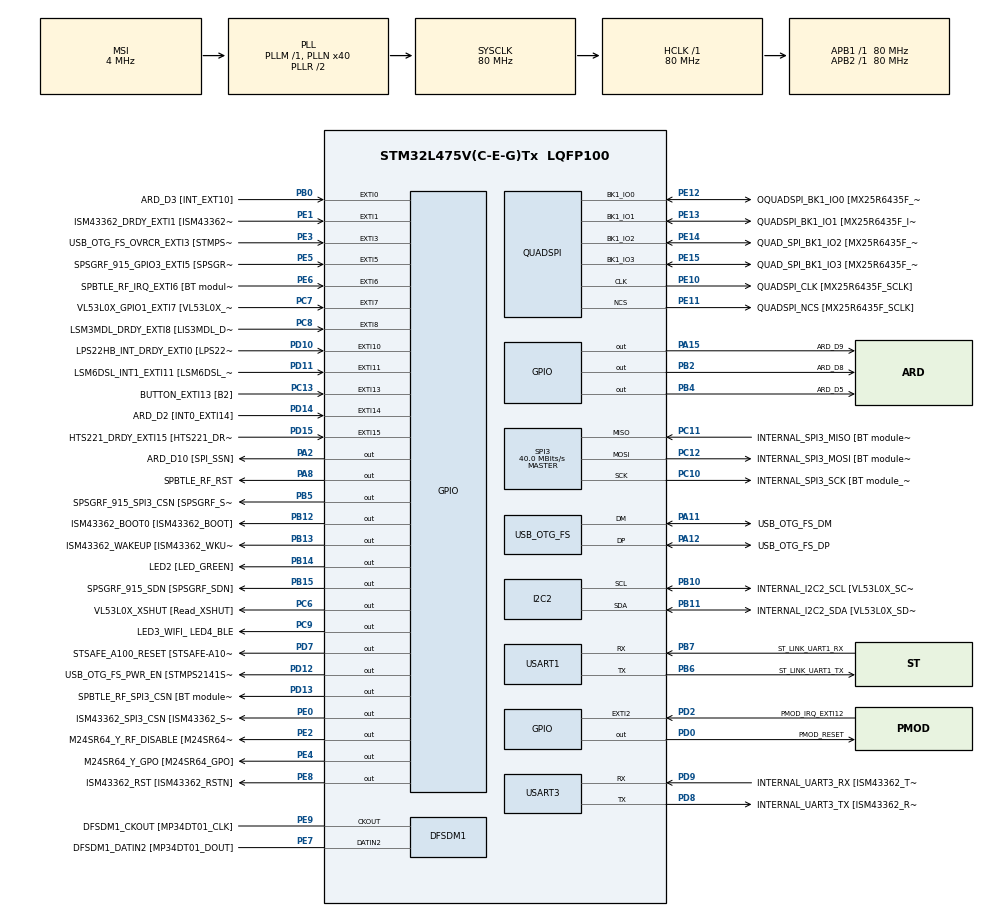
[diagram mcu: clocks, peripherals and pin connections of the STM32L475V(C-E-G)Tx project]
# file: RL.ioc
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I2C2.Timing=0x10D19CE4
Mcu.Family=STM32L4
Mcu.Name=STM32L475V(C-E-G)Tx
Mcu.Package=LQFP100
NVIC.EXTI15_10_IRQn=true\:0\:0\:false\:false\:true\:true\:true\:true
NVIC.EXTI9_5_IRQn=true\:0\:0\:false\:false\:true\:true\:true\:true
NVIC.PriorityGroup=NVIC_PRIORITYGROUP_4
PA0.GPIO_Label=ARD_D1 [UART4_TX]
PA0.Signal=UART4_TX
PA1.GPIO_Label=ARD_D0 [UART4_RX]
PA1.Signal=UART4_RX
PA10.GPIO_Label=USB_OTG_FS_ID
PA10.Signal=USB_OTG_FS_ID
PA11.GPIO_Label=USB_OTG_FS_DM
PA11.Mode=Device_Only
PA11.Signal=USB_OTG_FS_DM
PA12.GPIO_Label=USB_OTG_FS_DP
PA12.Mode=Device_Only
PA12.Signal=USB_OTG_FS_DP
PA13\ (JTMS-SWDIO).GPIO_Label=SYS_JTMS_SWDIO
PA13\ (JTMS-SWDIO).Mode=Serial_Wire
PA13\ (JTMS-SWDIO).Signal=SYS_JTMS-SWDIO
PA14\ (JTCK-SWCLK).GPIO_Label=SYS_JTCK_SWCLK
PA14\ (JTCK-SWCLK).Mode=Serial_Wire
PA14\ (JTCK-SWCLK).Signal=SYS_JTCK-SWCLK
PA15\ (JTDI).GPIO_Label=ARD_D9
PA15\ (JTDI).Signal=GPIO_Output
PA2.GPIO_Label=ARD_D10 [SPI_SSN]
PA2.Signal=GPIO_Output
PA3.GPIO_Label=ARD_D4
PA3.Signal=S_TIM2_CH4
PA4.GPIO_Label=ARD_D7
PA4.Signal=ADCx_IN9
PA5.GPIO_Label=ARD_D13 [SPI1_SCK]
PA5.Signal=SPI1_SCK
PA6.GPIO_Label=ARD_D12 [SPI1_MISO]
PA6.Signal=SPI1_MISO
PA7.GPIO_Label=ARD_D11 [SPI1_MOSI]
PA7.Signal=SPI1_MOSI
PA8.GPIO_Label=SPBTLE_RF_RST
PA8.Signal=GPIO_Output
PA9.GPIO_Label=USB_OTG_FS_VBUS [STMPS2141STR_OUT]
PA9.Signal=USB_OTG_FS_VBUS
PB0.GPIO_Label=ARD_D3 [INT_EXT10]
PB0.Signal=GPXTI0
PB1.GPIO_Label=ARD_D6 [ADC1_IN6]
PB1.Signal=ADCx_IN16
PB10.GPIO_Label=INTERNAL_I2C2_SCL [VL53L0X_SCL]
PB10.GPIO_Pu=GPIO_PULLUP
PB10.Mode=I2C
PB10.Signal=I2C2_SCL
PB11.GPIO_Label=INTERNAL_I2C2_SDA [VL53L0X_SDA]
PB11.GPIO_Pu=GPIO_PULLUP
PB11.Mode=I2C
PB11.Signal=I2C2_SDA
PB12.GPIO_Label=ISM43362_BOOT0 [ISM43362_BOOT]
PB12.Signal=GPIO_Output
PB13.GPIO_Label=ISM43362_WAKEUP [ISM43362_WKUP]
PB13.Signal=GPIO_Output
PB14.GPIO_Label=LED2 [LED_GREEN]
PB14.Signal=GPIO_Output
PB15.GPIO_Label=SPSGRF_915_SDN [SPSGRF_SDN]
PB15.Signal=GPIO_Output
PB2.GPIO_Label=ARD_D8
PB2.Signal=GPIO_Output
PB3\ (JTDO-TRACESWO).GPIO_Label=SYS_JTD0_SWO
PB3\ (JTDO-TRACESWO).Signal=SYS_JTDO-SWO
PB4\ (NJTRST).GPIO_Label=ARD_D5
PB4\ (NJTRST).Signal=GPIO_Output
PB5.GPIO_Label=SPSGRF_915_SPI3_CSN [SPSGRF_SPI_CS]
PB5.PinState=GPIO_PIN_SET
PB5.Signal=GPIO_Output
PB6.GPIO_Label=ST_LINK_UART1_TX
PB6.Mode=Asynchronous
PB6.Signal=USART1_TX
PB7.GPIO_Label=ST_LINK_UART1_RX
PB7.Mode=Asynchronous
PB7.Signal=USART1_RX
PB8.GPIO_Label=ARD_D15 [I2C1_SCL]
PB8.Signal=I2C1_SCL
PB9.GPIO_Label=ARD_D14 [I2C1_SDA]
PB9.Signal=I2C1_SDA
PC0.GPIO_Label=ARD_A5 [ADC]
PC0.Signal=ADCx_IN1
PC1.GPIO_Label=ARD_A4 [ADC]
PC1.Signal=ADCx_IN2
PC10.GPIO_Label=INTERNAL_SPI3_SCK [BT module_SPI_SCLK] [ISM43362_SCK]
PC10.Mode=Full_Duplex_Master
PC10.Signal=SPI3_SCK
PC11.GPIO_Label=INTERNAL_SPI3_MISO [BT module_SPI_MISO] [ISM43362_MISO]
PC11.Mode=Full_Duplex_Master
PC11.Signal=SPI3_MISO
PC12.GPIO_Label=INTERNAL_SPI3_MOSI [BT module_SPI_MOSI] [ISM43362_MOSI]
PC12.Mode=Full_Duplex_Master
PC12.Signal=SPI3_MOSI
PC13.GPIO_Label=BUTTON_EXTI13 [B2]
PC13.GPIO_ModeDefaultEXTI=GPIO_MODE_IT_FALLING
PC13.Signal=GPXTI13
PC14-OSC32_IN\ (PC14).Mode=LSE-External-Oscillator
PC14-OSC32_IN\ (PC14).Signal=RCC_OSC32_IN
PC15-OSC32_OUT\ (PC15).Mode=LSE-External-Oscillator
PC15-OSC32_OUT\ (PC15).Signal=RCC_OSC32_OUT
PC2.GPIO_Label=ARD_A3 [ADC]
PC2.Signal=ADCx_IN3
PC3.GPIO_Label=ARD_A2 [ADC]
PC3.Signal=ADCx_IN4
PC4.GPIO_Label=ARD_A1 [ADC]
PC4.Signal=ADCx_IN13
PC5.GPIO_Label=ARD_A0 [ADC]
PC5.Signal=ADCx_IN14
PC6.GPIO_Label=VL53L0X_XSHUT [Read_XSHUT]
PC6.Signal=GPIO_Output
PC7.GPIO_Label=VL53L0X_GPIO1_EXTI7 [VL53L0X_GPIO1]
PC7.Signal=GPXTI7
PC8.GPIO_Label=LSM3MDL_DRDY_EXTI8 [LIS3MDL_DRDY]
PC8.Signal=GPXTI8
PC9.GPIO_Label=LED3_WIFI_ LED4_BLE
PC9.Signal=GPIO_Output
PD0.GPIO_Label=PMOD_RESET
PD0.Signal=GPIO_Output
PD1.GPIO_Label=PMOD_SPI2_SCK
PD1.Signal=SPI2_SCK
PD10.GPIO_Label=LPS22HB_INT_DRDY_EXTI0 [LPS22HB_INT_DRDY] 
PD10.Signal=GPXTI10
PD11.GPIO_Label=LSM6DSL_INT1_EXTI11 [LSM6DSL_INT1]
PD11.Signal=GPXTI11
PD12.GPIO_Label=USB_OTG_FS_PWR_EN [STMPS2141STR_EN]
PD12.Signal=GPIO_Output
PD13.GPIO_Label=SPBTLE_RF_SPI3_CSN [BT module_SPI_CS]
PD13.PinState=GPIO_PIN_SET
PD13.Signal=GPIO_Output
PD14.GPIO_Label=ARD_D2 [INT0_EXTI14]
PD14.Signal=GPXTI14
PD15.GPIO_Label=HTS221_DRDY_EXTI15 [HTS221_DRDY]
PD15.Signal=GPXTI15
PD2.GPIO_Label=PMOD_IRQ_EXTI12
PD2.Signal=GPXTI2
PD3.GPIO_Label=PMOD_UART2_CTS
PD3.Signal=USART2_CTS
PD4.GPIO_Label=PMOD_UART2_RTS
PD4.Signal=USART2_RTS
PD5.GPIO_Label=PMOD_UART2_TX
PD5.Signal=USART2_TX
PD6.GPIO_Label=PMOD_UART2_RX
PD6.Signal=USART2_RX
PD7.GPIO_Label=STSAFE_A100_RESET [STSAFE-A100_RESET]
PD7.Signal=GPIO_Output
PD8.GPIO_Label=INTERNAL_UART3_TX [ISM43362_RX]
PD8.Mode=Asynchronous
PD8.Signal=USART3_TX
PD9.GPIO_Label=INTERNAL_UART3_RX [ISM43362_TX]
PD9.Mode=Asynchronous
PD9.Signal=USART3_RX
PE0.GPIO_Label=ISM43362_SPI3_CSN [ISM43362_SSN]
PE0.PinState=GPIO_PIN_SET
PE0.Signal=GPIO_Output
PE1.GPIO_Label=ISM43362_DRDY_EXTI1 [ISM43362_DATARDY]
PE1.Signal=GPXTI1
PE10.GPIO_Label=QUADSPI_CLK [MX25R6435F_SCLK]
PE10.Mode=Single Bank
PE10.Signal=QUADSPI_CLK
PE11.GPIO_Label=QUADSPI_NCS [MX25R6435F_SCLK]
PE11.Mode=Single Bank
PE11.Signal=QUADSPI_NCS
PE12.GPIO_Label=OQUADSPI_BK1_IO0 [MX25R6435F_IO0]
PE12.Mode=Single Bank
PE12.Signal=QUADSPI_BK1_IO0
PE13.GPIO_Label=QUADSPI_BK1_IO1 [MX25R6435F_IO1]
PE13.Mode=Single Bank
PE13.Signal=QUADSPI_BK1_IO1
PE14.GPIO_Label=QUAD_SPI_BK1_IO2 [MX25R6435F_IO2]
PE14.Mode=Single Bank
PE14.Signal=QUADSPI_BK1_IO2
PE15.GPIO_Label=QUAD_SPI_BK1_IO3 [MX25R6435F_IO3]
PE15.Mode=Single Bank
PE15.Signal=QUADSPI_BK1_IO3
PE2.GPIO_Label=M24SR64_Y_RF_DISABLE [M24SR64_RFDIS]
PE2.Signal=GPIO_Output
PE3.GPIO_Label=USB_OTG_FS_OVRCR_EXTI3 [STMPS2141STR_FAULT]
PE3.Signal=GPXTI3
PE4.GPIO_Label=M24SR64_Y_GPO [M24SR64_GPO]
PE4.Signal=GPIO_Output
PE5.GPIO_Label=SPSGRF_915_GPIO3_EXTI5 [SPSGRF_GPIO_3]
PE5.Signal=GPXTI5
PE6.GPIO_Label=SPBTLE_RF_IRQ_EXTI6 [BT module_SPI_IRQ]
PE6.Signal=GPXTI6
PE7.GPIO_Label=DFSDM1_DATIN2 [MP34DT01_DOUT]
PE7.Signal=S_DATAIN2DFSDM1
PE8.GPIO_Label=ISM43362_RST [ISM43362_RSTN]
PE8.Signal=GPIO_Output
PE9.GPIO_Label=DFSDM1_CKOUT [MP34DT01_CLK]
PE9.Signal=S_CKOUTDFSDM1
ProjectManager.HeapSize=0x200
ProjectManager.StackSize=0x400
ProjectManager.TargetToolchain=STM32CubeIDE
QUADSPI.ClockPrescaler=2
QUADSPI.FifoThreshold=4
QUADSPI.FlashSize=23
QUADSPI.SampleShifting=QSPI_SAMPLE_SHIFTING_HALFCYCLE
RCC.ADCFreq_Value=48000000
RCC.AHBFreq_Value=80000000
RCC.APB1Freq_Value=80000000
RCC.APB1TimFreq_Value=80000000
RCC.APB2Freq_Value=80000000
RCC.APB2TimFreq_Value=80000000
RCC.CortexFreq_Value=80000000
RCC.HCLKFreq_Value=80000000
RCC.HSE_VALUE=8000000
RCC.HSI_VALUE=16000000
RCC.MSI_VALUE=4000000
RCC.PLLN=40
RCC.PLLSAI1N=24
RCC.SYSCLKFreq_VALUE=80000000
RCC.SYSCLKSource=RCC_SYSCLKSOURCE_PLLCLK
RCC.USBFreq_Value=48000000
RCC.VCOOutputFreq_Value=160000000
SH.ADCx_IN1.0=ADC1_IN1
SH.ADCx_IN13.0=ADC1_IN13
SH.ADCx_IN14.0=ADC1_IN14
SH.ADCx_IN16.0=ADC1_IN16
SH.ADCx_IN2.0=ADC1_IN2
SH.ADCx_IN3.0=ADC1_IN3
SH.ADCx_IN4.0=ADC1_IN4
SH.ADCx_IN9.0=ADC1_IN9
SH.S_CKOUTDFSDM1.0=DFSDM1_CKOUT,CKOUT
SH.S_CKOUTDFSDM1.1=DFSDM1_CKOUT,PDM_SPI_Input_from_ch12_and_Internal_Clock
SH.S_DATAIN2DFSDM1.0=DFSDM1_DATIN2,PDM_SPI_Input_from_ch12_and_Internal_Clock
SH.S_TIM2_CH4.0=TIM2_CH4
SPI3.CalculateBaudRate=40.0 MBits/s
SPI3.Direction=SPI_DIRECTION_2LINES
SPI3.Mode=SPI_MODE_MASTER
SPI3.VirtualType=VM_MASTER
USART1.VirtualMode-Asynchronous=VM_ASYNC
USART3.VirtualMode-Asynchronous=VM_ASYNC
USB_OTG_FS.VirtualMode=Device_Only
board=B-L475E-IOT01A2

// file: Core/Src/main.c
/* USER CODE BEGIN Header */
/**
  ******************************************************************************
  * @file           : main.c
  * @brief          : Main program body
  ******************************************************************************
  * @attention
  *
  * Copyright (c) 2026 STMicroelectronics.
  * All rights reserved.
  *
  * This software is licensed under terms that can be found in the LICENSE file
  * in the root directory of this software component.
  * If no LICENSE file comes with this software, it is provided AS-IS.
  *
  ******************************************************************************
  */
/* USER CODE END Header */
#include "main.h"

/* USER CODE BEGIN Includes */
#include <stdio.h>
#include "wifi.h"
#include "wifi_credentials.h"
#include "stm32l475e_iot01_tsensor.h"
#include "stm32l475e_iot01_hsensor.h"
#include "stm32l475e_iot01_psensor.h"
#include "stm32l475e_iot01_accelero.h"
#include "stm32l475e_iot01_gyro.h"
#include "stm32l475e_iot01_magneto.h"

/* USER CODE END Includes */

/* USER CODE BEGIN PD */
#define MOTION_ENABLED  1 /* 0 = do not initialize or read accelerometer, gyroscope, magnetometer */
#define WIFI_ENABLED  1   /* set to 0 to skip Wi-Fi: sensor values then appear immediately */
/* Shake detected when |a|^2 exceeds (1.5 g)^2, in mg^2. At rest, |a|^2 is about 1 000 000. */
#define SHAKE_THRESHOLD_MG2  2250000UL

/* USER CODE END PD */

DFSDM_Channel_HandleTypeDef hdfsdm1_channel1;

I2C_HandleTypeDef hi2c2;

QSPI_HandleTypeDef hqspi;

SPI_HandleTypeDef hspi3;

UART_HandleTypeDef huart1;
UART_HandleTypeDef huart3;

PCD_HandleTypeDef hpcd_USB_OTG_FS;

void SystemClock_Config(void);
static void MX_GPIO_Init(void);
static void MX_DFSDM1_Init(void);
static void MX_I2C2_Init(void);
static void MX_QUADSPI_Init(void);
static void MX_SPI3_Init(void);
static void MX_USART1_UART_Init(void);
static void MX_USART3_UART_Init(void);
static void MX_USB_OTG_FS_PCD_Init(void);
/* USER CODE BEGIN PFP */
static void uart_print(const char *s);
/* USER CODE END PFP */

/* USER CODE BEGIN 0 */
void MQTT_Connect(void)
{
  uint8_t conn_pkt[] = {
    0x10, 0x15,
    0x00, 0x04, 'M', 'Q', 'T', 'T',
    0x04, 0x02, 0x00, 0x3C,
    0x00, 0x09, 's', 't', 'm', '3', '2', 'l', '4', '7', '5'
  };
  uint16_t sent = 0;
  WIFI_SendData(0, conn_pkt, sizeof(conn_pkt), &sent, 2000);

  uint8_t rx[4];
  uint16_t read = 0;
  WIFI_ReceiveData(0, rx, sizeof(rx), &read, 2000);

  if (read >= 4 && rx[0] == 0x20 && rx[3] == 0x00) {
    uart_print("MQTT: Connected to broker!\r\n");
  } else {
    uart_print("MQTT: Connect failed!\r\n");
  }
}

void MQTT_Publish(const char *topic, const char *payload)
{
  uint8_t pkt[128];
  uint16_t tlen = strlen(topic);
  uint16_t plen = strlen(payload);
  uint16_t rem_len = 2 + tlen + plen;

  pkt[0] = 0x30;
  pkt[1] = rem_len;
  pkt[2] = (tlen >> 8) & 0xFF;
  pkt[3] = tlen & 0xFF;
  memcpy(&pkt[4], topic, tlen);
  memcpy(&pkt[4 + tlen], payload, plen);

  uint16_t sent = 0;
  WIFI_SendData(0, pkt, 2 + rem_len, &sent, 2000);
}
/* USER CODE END 0 */

int main(void)
{

  /* MCU Configuration--------------------------------------------------------*/

  /* Reset of all peripherals, Initializes the Flash interface and the Systick. */
  HAL_Init();

  /* Configure the system clock */
  SystemClock_Config();

  /* Initialize all configured peripherals */
  MX_GPIO_Init();
  MX_DFSDM1_Init();
  MX_I2C2_Init();
  MX_QUADSPI_Init();
  MX_SPI3_Init();
  MX_USART1_UART_Init();
  MX_USART3_UART_Init();
  MX_USB_OTG_FS_PCD_Init();
  /* USER CODE BEGIN 2 */

  char msg[128];
  const char hello[] = "\r\nHELLO FROM STM32L475!\r\n";
  HAL_UART_Transmit(&huart1,
                    (uint8_t *)hello,
                    sizeof(hello) - 1,
                    HAL_MAX_DELAY);

  /* Sensor initialization */
  uint32_t st_t = BSP_TSENSOR_Init();
  uint32_t st_h = BSP_HSENSOR_Init();
  uint32_t st_p = BSP_PSENSOR_Init();
#if MOTION_ENABLED
  uint32_t st_a = BSP_ACCELERO_Init();
  uint32_t st_g = BSP_GYRO_Init();
  uint32_t st_m = BSP_MAGNETO_Init();
  snprintf(msg, sizeof(msg), "Motion Init: ACC=%lu GYR=%lu MAG=%lu (0 = OK)\r\n",
           (unsigned long)st_a, (unsigned long)st_g, (unsigned long)st_m);
  uart_print(msg);
#else
  uart_print("Motion sensors DISABLED (MOTION_ENABLED = 0)\r\n");
#endif

  char init_msg[128];
  int len = snprintf(init_msg, sizeof(init_msg),
                     "Sensor Init: T=%lu H=%lu P=%lu\r\n",
                     (unsigned long)st_t,
                     (unsigned long)st_h,
                     (unsigned long)st_p);

  HAL_UART_Transmit(&huart1,
                    (uint8_t *)init_msg,
                    len,
                    HAL_MAX_DELAY);
#if WIFI_ENABLED
  /* ---- Wi-Fi: scan, join (3 attempts), print the IP, ping the gateway ---- */
  {
    char fw[24] = "?";
    uint8_t mac[6] = {0};
    uint8_t ip[4] = {0};
    int32_t rtt[3] = {0};
    const uint8_t gateway[4] = WIFI_GATEWAY_IP;

    uart_print("WiFi: init module...\r\n");
    if (WIFI_Init() == WIFI_STATUS_OK)
    {
      WIFI_GetModuleFwRevision(fw, sizeof(fw));
      WIFI_GetMAC_Address(mac, sizeof(mac));
      snprintf(msg, sizeof(msg),
               "WiFi: module OK, fw=%s, MAC=%02X:%02X:%02X:%02X:%02X:%02X\r\n",
               fw, mac[0], mac[1], mac[2], mac[3], mac[4], mac[5]);
      uart_print(msg);

      /* --- Scan: which networks does the module see? --- */
      {
        static WIFI_APs_t aps;
        int found = 0;
        memset(&aps, 0, sizeof(aps));
        if (WIFI_ListAccessPoints(&aps, 10) == WIFI_STATUS_OK)
        {
          snprintf(msg, sizeof(msg), "WiFi: scan found %d networks\r\n", (int)aps.count);
          uart_print(msg);
          for (int i = 0; i < aps.count && i < 10; i++)
          {
            int is_target = (strcmp(aps.ap[i].SSID, WIFI_SSID) == 0);
            if (is_target) { found = 1; }
            snprintf(msg, sizeof(msg), "  [%d] %-24s ch=%2d rssi=%d ecn=%d%s\r\n",
                     i, aps.ap[i].SSID, (int)aps.ap[i].Channel,
                     (int)aps.ap[i].RSSI, (int)aps.ap[i].Ecn,
                     is_target ? "  <-- target" : "");
            uart_print(msg);
          }
          snprintf(msg, sizeof(msg), "WiFi: target %s %s in the scan\r\n",
                   WIFI_SSID, found ? "IS" : "is NOT");
          uart_print(msg);
        }
        else
        {
          uart_print("WiFi: scan FAILED\r\n");
        }
      }

      /* --- Join, 3 attempts --- */
      WIFI_Status_t js;
      int attempt = 0;
      do
      {
        attempt++;
        const char *pw = WIFI_PASSWORD;
#if WIFI_PROFILE == 1
        if (attempt > 1) { pw = "dummy1234"; }   /* open network: is an EMPTY password the problem? */
#endif
        snprintf(msg, sizeof(msg), "WiFi: joining %s (attempt %d/3, password %s) ...\r\n",
                 WIFI_SSID, attempt, (pw[0] == '\0') ? "empty" : "non-empty");
        uart_print(msg);
        uint32_t t0 = HAL_GetTick();
        js = WIFI_Connect(WIFI_SSID, pw, WIFI_SECURITY);
        uint32_t dt = HAL_GetTick() - t0;
        snprintf(msg, sizeof(msg), "WiFi: WIFI_Connect returned %d after %lu ms (0 = OK)\r\n",
                 (int)js, (unsigned long)dt);
        uart_print(msg);
        if ((js != WIFI_STATUS_OK) && (attempt < 3))
        {
          HAL_Delay(2000);
        }
      } while ((js != WIFI_STATUS_OK) && (attempt < 3));

      if (js == WIFI_STATUS_OK)
      {
        uart_print("WiFi: joined\r\n");
        if (WIFI_GetIP_Address(ip, sizeof(ip)) == WIFI_STATUS_OK)
        {
          snprintf(msg, sizeof(msg), "WiFi: board IP = %d.%d.%d.%d\r\n",
                   ip[0], ip[1], ip[2], ip[3]);
          uart_print(msg);
        }
        WIFI_Status_t st = WIFI_Ping(gateway, 3, 200, rtt);
        snprintf(msg, sizeof(msg), "WiFi: ping gateway status=%d rtt=%ld/%ld/%ld\r\n",
                 (int)st, (long)rtt[0], (long)rtt[1], (long)rtt[2]);
        uart_print(msg);

        uint8_t broker_ip[4] = { 10,76,208,192};  // exemple pour home box
        if (WIFI_OpenClientConnection(0, WIFI_TCP_PROTOCOL, "broker", broker_ip, 1883, 0) == WIFI_STATUS_OK)
        {
          uart_print("WiFi: TCP connected to broker 10.144.211.192:1883\r\n");
          MQTT_Connect();
        }
        else
        {
          uart_print("WiFi: TCP connect FAILED\r\n");
        }
      }
      else
      {
        uart_print("WiFi: join FAILED after 3 attempts\r\n");
      }
    }
    else
    {
      uart_print("WiFi: module init FAILED\r\n");
    }
  }
#endif /* WIFI_ENABLED */
  /* USER CODE END 2 */

  /* Infinite loop */
  while (1)
  {

	    /* USER CODE BEGIN 3 */
	    static uint32_t tick_1s = 0;      /* counts 50 ms loops up to 1 s */

	#if MOTION_ENABLED
	    static uint32_t shake_hold = 0;   /* loops during which a new shake is ignored */

	    /* --- Fast part (every 50 ms): accelerometer + shake detection --- */
	    int16_t acc[3];
	    BSP_ACCELERO_AccGetXYZ(acc);
	    int32_t ax = acc[0], ay = acc[1], az = acc[2];
	    uint32_t m2 = (uint32_t)(ax * ax + ay * ay + az * az);

	    if (shake_hold > 0)
	    {
	      shake_hold--;
	    }
	    else if (m2 > SHAKE_THRESHOLD_MG2)
	    {
	      snprintf(msg, sizeof(msg), "*** SHAKE detected (|a|^2 = %lu mg^2) ***\r\n", (unsigned long)m2);
	      uart_print(msg);
	      shake_hold = 20;                /* about 1 s before the next report */
	    }
	#endif

	    /* --- Slow part (about every 1 s) --- */
	    if (++tick_1s >= 20)
	    {
	      tick_1s = 0;

	      float temp  = BSP_TSENSOR_ReadTemp();
	      float hum   = BSP_HSENSOR_ReadHumidity();
	      float press = BSP_PSENSOR_ReadPressure();
	      int32_t t100 = (int32_t)(temp * 100.0f);
	      int32_t h100 = (int32_t)(hum * 100.0f);
	      int32_t p10  = (int32_t)(press * 10.0f);
	      const char *sign = (t100 < 0) ? "-" : "";
	      if (t100 < 0) t100 = -t100;

	      snprintf(msg, sizeof(msg),
	               "T=%s%ld.%02ld C | H=%ld.%02ld %% | P=%ld.%01ld hPa\r\n",
	               sign, (long)(t100 / 100), (long)(t100 % 100),
	               (long)(h100 / 100), (long)(h100 % 100),
	               (long)(p10 / 10), (long)(p10 % 10));
	      uart_print(msg);

	      char t_str[16], h_str[16], p_str[16];
	      snprintf(t_str, sizeof(t_str), "%s%ld.%02ld", sign, (long)(t100 / 100), (long)(t100 % 100));
	      snprintf(h_str, sizeof(h_str), "%ld.%02ld", (long)(h100 / 100), (long)(h100 % 100));
	      snprintf(p_str, sizeof(p_str), "%ld.%01ld", (long)(p10 / 10), (long)(p10 % 10));

	      MQTT_Publish("/temperature", t_str);
	      MQTT_Publish("/humidite", h_str);
	      MQTT_Publish("/pression", p_str);

	#if MOTION_ENABLED
	      float gyro[3];
	      int16_t mag[3];
	      BSP_GYRO_GetXYZ(gyro);
	      BSP_MAGNETO_GetXYZ(mag);

	      snprintf(msg, sizeof(msg),
	               "ACC[mg] x=%d y=%d z=%d | GYR[dps] x=%d y=%d z=%d | MAG[mG] x=%d y=%d z=%d\r\n",
	               (int)ax, (int)ay, (int)az,
	               (int)(gyro[0] / 1000.0f), (int)(gyro[1] / 1000.0f), (int)(gyro[2] / 1000.0f),
	               (int)mag[0], (int)mag[1], (int)mag[2]);
	      uart_print(msg);
	#endif
	    }

	    HAL_Delay(50);
	  }
	  /* USER CODE END 3 */
}                                       /* end of main() */

void SystemClock_Config(void)
{
  RCC_OscInitTypeDef RCC_OscInitStruct = {0};
  RCC_ClkInitTypeDef RCC_ClkInitStruct = {0};

  /** Configure the main internal regulator output voltage
  */
  if (HAL_PWREx_ControlVoltageScaling(PWR_REGULATOR_VOLTAGE_SCALE1) != HAL_OK)
  {
    Error_Handler();
  }

  /** Configure LSE Drive Capability
  */
  HAL_PWR_EnableBkUpAccess();
  __HAL_RCC_LSEDRIVE_CONFIG(RCC_LSEDRIVE_LOW);

  /** Initializes the RCC Oscillators according to the specified parameters
  * in the RCC_OscInitTypeDef structure.
  */
  RCC_OscInitStruct.OscillatorType = RCC_OSCILLATORTYPE_LSE|RCC_OSCILLATORTYPE_MSI;
  RCC_OscInitStruct.LSEState = RCC_LSE_ON;
  RCC_OscInitStruct.MSIState = RCC_MSI_ON;
  RCC_OscInitStruct.MSICalibrationValue = 0;
  RCC_OscInitStruct.MSIClockRange = RCC_MSIRANGE_6;
  RCC_OscInitStruct.PLL.PLLState = RCC_PLL_ON;
  RCC_OscInitStruct.PLL.PLLSource = RCC_PLLSOURCE_MSI;
  RCC_OscInitStruct.PLL.PLLM = 1;
  RCC_OscInitStruct.PLL.PLLN = 40;
  RCC_OscInitStruct.PLL.PLLP = RCC_PLLP_DIV7;
  RCC_OscInitStruct.PLL.PLLQ = RCC_PLLQ_DIV2;
  RCC_OscInitStruct.PLL.PLLR = RCC_PLLR_DIV2;
  if (HAL_RCC_OscConfig(&RCC_OscInitStruct) != HAL_OK)
  {
    Error_Handler();
  }

  /** Initializes the CPU, AHB and APB buses clocks
  */
  RCC_ClkInitStruct.ClockType = RCC_CLOCKTYPE_HCLK|RCC_CLOCKTYPE_SYSCLK
                              |RCC_CLOCKTYPE_PCLK1|RCC_CLOCKTYPE_PCLK2;
  RCC_ClkInitStruct.SYSCLKSource = RCC_SYSCLKSOURCE_PLLCLK;
  RCC_ClkInitStruct.AHBCLKDivider = RCC_SYSCLK_DIV1;
  RCC_ClkInitStruct.APB1CLKDivider = RCC_HCLK_DIV1;
  RCC_ClkInitStruct.APB2CLKDivider = RCC_HCLK_DIV1;

  if (HAL_RCC_ClockConfig(&RCC_ClkInitStruct, FLASH_LATENCY_4) != HAL_OK)
  {
    Error_Handler();
  }

  /** Enable MSI Auto calibration
  */
  HAL_RCCEx_EnableMSIPLLMode();
}

static void MX_DFSDM1_Init(void)
{

  hdfsdm1_channel1.Instance = DFSDM1_Channel1;
  hdfsdm1_channel1.Init.OutputClock.Activation = ENABLE;
  hdfsdm1_channel1.Init.OutputClock.Selection = DFSDM_CHANNEL_OUTPUT_CLOCK_SYSTEM;
  hdfsdm1_channel1.Init.OutputClock.Divider = 2;
  hdfsdm1_channel1.Init.Input.Multiplexer = DFSDM_CHANNEL_EXTERNAL_INPUTS;
  hdfsdm1_channel1.Init.Input.DataPacking = DFSDM_CHANNEL_STANDARD_MODE;
  hdfsdm1_channel1.Init.Input.Pins = DFSDM_CHANNEL_FOLLOWING_CHANNEL_PINS;
  hdfsdm1_channel1.Init.SerialInterface.Type = DFSDM_CHANNEL_SPI_RISING;
  hdfsdm1_channel1.Init.SerialInterface.SpiClock = DFSDM_CHANNEL_SPI_CLOCK_INTERNAL;
  hdfsdm1_channel1.Init.Awd.FilterOrder = DFSDM_CHANNEL_FASTSINC_ORDER;
  hdfsdm1_channel1.Init.Awd.Oversampling = 1;
  hdfsdm1_channel1.Init.Offset = 0;
  hdfsdm1_channel1.Init.RightBitShift = 0x00;
  if (HAL_DFSDM_ChannelInit(&hdfsdm1_channel1) != HAL_OK)
  {
    Error_Handler();
  }

}

static void MX_I2C2_Init(void)
{

  hi2c2.Instance = I2C2;
  hi2c2.Init.Timing = 0x10D19CE4;
  hi2c2.Init.OwnAddress1 = 0;
  hi2c2.Init.AddressingMode = I2C_ADDRESSINGMODE_7BIT;
  hi2c2.Init.DualAddressMode = I2C_DUALADDRESS_DISABLE;
  hi2c2.Init.OwnAddress2 = 0;
  hi2c2.Init.OwnAddress2Masks = I2C_OA2_NOMASK;
  hi2c2.Init.GeneralCallMode = I2C_GENERALCALL_DISABLE;
  hi2c2.Init.NoStretchMode = I2C_NOSTRETCH_DISABLE;
  if (HAL_I2C_Init(&hi2c2) != HAL_OK)
  {
    Error_Handler();
  }

  /** Configure Analogue filter
  */
  if (HAL_I2CEx_ConfigAnalogFilter(&hi2c2, I2C_ANALOGFILTER_ENABLE) != HAL_OK)
  {
    Error_Handler();
  }

  /** Configure Digital filter
  */
  if (HAL_I2CEx_ConfigDigitalFilter(&hi2c2, 0) != HAL_OK)
  {
    Error_Handler();
  }

}

static void MX_QUADSPI_Init(void)
{

  /* QUADSPI parameter configuration*/
  hqspi.Instance = QUADSPI;
  hqspi.Init.ClockPrescaler = 2;
  hqspi.Init.FifoThreshold = 4;
  hqspi.Init.SampleShifting = QSPI_SAMPLE_SHIFTING_HALFCYCLE;
  hqspi.Init.FlashSize = 23;
  hqspi.Init.ChipSelectHighTime = QSPI_CS_HIGH_TIME_1_CYCLE;
  hqspi.Init.ClockMode = QSPI_CLOCK_MODE_0;
  if (HAL_QSPI_Init(&hqspi) != HAL_OK)
  {
    Error_Handler();
  }

}

static void MX_SPI3_Init(void)
{

  /* SPI3 parameter configuration*/
  hspi3.Instance = SPI3;
  hspi3.Init.Mode = SPI_MODE_MASTER;
  hspi3.Init.Direction = SPI_DIRECTION_2LINES;
  hspi3.Init.DataSize = SPI_DATASIZE_4BIT;
  hspi3.Init.CLKPolarity = SPI_POLARITY_LOW;
  hspi3.Init.CLKPhase = SPI_PHASE_1EDGE;
  hspi3.Init.NSS = SPI_NSS_SOFT;
  hspi3.Init.BaudRatePrescaler = SPI_BAUDRATEPRESCALER_2;
  hspi3.Init.FirstBit = SPI_FIRSTBIT_MSB;
  hspi3.Init.TIMode = SPI_TIMODE_DISABLE;
  hspi3.Init.CRCCalculation = SPI_CRCCALCULATION_DISABLE;
  hspi3.Init.CRCPolynomial = 7;
  hspi3.Init.CRCLength = SPI_CRC_LENGTH_DATASIZE;
  hspi3.Init.NSSPMode = SPI_NSS_PULSE_ENABLE;
  if (HAL_SPI_Init(&hspi3) != HAL_OK)
  {
    Error_Handler();
  }

}

static void MX_USART1_UART_Init(void)
{

  huart1.Instance = USART1;
  huart1.Init.BaudRate = 115200;
  huart1.Init.WordLength = UART_WORDLENGTH_8B;
  huart1.Init.StopBits = UART_STOPBITS_1;
  huart1.Init.Parity = UART_PARITY_NONE;
  huart1.Init.Mode = UART_MODE_TX_RX;
  huart1.Init.HwFlowCtl = UART_HWCONTROL_NONE;
  huart1.Init.OverSampling = UART_OVERSAMPLING_16;
  huart1.Init.OneBitSampling = UART_ONE_BIT_SAMPLE_DISABLE;
  huart1.AdvancedInit.AdvFeatureInit = UART_ADVFEATURE_NO_INIT;
  if (HAL_UART_Init(&huart1) != HAL_OK)
  {
    Error_Handler();
  }

}

static void MX_USART3_UART_Init(void)
{

  huart3.Instance = USART3;
  huart3.Init.BaudRate = 115200;
  huart3.Init.WordLength = UART_WORDLENGTH_8B;
  huart3.Init.StopBits = UART_STOPBITS_1;
  huart3.Init.Parity = UART_PARITY_NONE;
  huart3.Init.Mode = UART_MODE_TX_RX;
  huart3.Init.HwFlowCtl = UART_HWCONTROL_NONE;
  huart3.Init.OverSampling = UART_OVERSAMPLING_16;
  huart3.Init.OneBitSampling = UART_ONE_BIT_SAMPLE_DISABLE;
  huart3.AdvancedInit.AdvFeatureInit = UART_ADVFEATURE_NO_INIT;
  if (HAL_UART_Init(&huart3) != HAL_OK)
  {
    Error_Handler();
  }

}

static void MX_USB_OTG_FS_PCD_Init(void)
{

  hpcd_USB_OTG_FS.Instance = USB_OTG_FS;
  hpcd_USB_OTG_FS.Init.dev_endpoints = 6;
  hpcd_USB_OTG_FS.Init.speed = PCD_SPEED_FULL;
  hpcd_USB_OTG_FS.Init.phy_itface = PCD_PHY_EMBEDDED;
  hpcd_USB_OTG_FS.Init.Sof_enable = DISABLE;
  hpcd_USB_OTG_FS.Init.low_power_enable = DISABLE;
  hpcd_USB_OTG_FS.Init.lpm_enable = DISABLE;
  hpcd_USB_OTG_FS.Init.battery_charging_enable = DISABLE;
  hpcd_USB_OTG_FS.Init.use_dedicated_ep1 = DISABLE;
  hpcd_USB_OTG_FS.Init.vbus_sensing_enable = DISABLE;
  if (HAL_PCD_Init(&hpcd_USB_OTG_FS) != HAL_OK)
  {
    Error_Handler();
  }

}

static void MX_GPIO_Init(void)
{
  GPIO_InitTypeDef GPIO_InitStruct = {0};

  /* GPIO Ports Clock Enable */
  __HAL_RCC_GPIOE_CLK_ENABLE();
  __HAL_RCC_GPIOC_CLK_ENABLE();
  __HAL_RCC_GPIOA_CLK_ENABLE();
  __HAL_RCC_GPIOB_CLK_ENABLE();
  __HAL_RCC_GPIOD_CLK_ENABLE();

  /*Configure GPIO pin Output Level */
  HAL_GPIO_WritePin(GPIOE, M24SR64_Y_RF_DISABLE_Pin|M24SR64_Y_GPO_Pin|ISM43362_RST_Pin, GPIO_PIN_RESET);

  /*Configure GPIO pin Output Level */
  HAL_GPIO_WritePin(GPIOA, ARD_D10_Pin|SPBTLE_RF_RST_Pin|ARD_D9_Pin, GPIO_PIN_RESET);

  /*Configure GPIO pin Output Level */
  HAL_GPIO_WritePin(GPIOB, ARD_D8_Pin|ISM43362_BOOT0_Pin|ISM43362_WAKEUP_Pin|LED2_Pin
                          |SPSGRF_915_SDN_Pin|ARD_D5_Pin, GPIO_PIN_RESET);

  /*Configure GPIO pin Output Level */
  HAL_GPIO_WritePin(GPIOD, USB_OTG_FS_PWR_EN_Pin|PMOD_RESET_Pin|STSAFE_A100_RESET_Pin, GPIO_PIN_RESET);

  /*Configure GPIO pin Output Level */
  HAL_GPIO_WritePin(SPBTLE_RF_SPI3_CSN_GPIO_Port, SPBTLE_RF_SPI3_CSN_Pin, GPIO_PIN_SET);

  /*Configure GPIO pin Output Level */
  HAL_GPIO_WritePin(GPIOC, VL53L0X_XSHUT_Pin|LED3_WIFI__LED4_BLE_Pin, GPIO_PIN_RESET);

  /*Configure GPIO pin Output Level */
  HAL_GPIO_WritePin(SPSGRF_915_SPI3_CSN_GPIO_Port, SPSGRF_915_SPI3_CSN_Pin, GPIO_PIN_SET);

  /*Configure GPIO pin Output Level */
  HAL_GPIO_WritePin(ISM43362_SPI3_CSN_GPIO_Port, ISM43362_SPI3_CSN_Pin, GPIO_PIN_SET);

  /*Configure GPIO pins : M24SR64_Y_RF_DISABLE_Pin M24SR64_Y_GPO_Pin ISM43362_RST_Pin ISM43362_SPI3_CSN_Pin */
  GPIO_InitStruct.Pin = M24SR64_Y_RF_DISABLE_Pin|M24SR64_Y_GPO_Pin|ISM43362_RST_Pin|ISM43362_SPI3_CSN_Pin;
  GPIO_InitStruct.Mode = GPIO_MODE_OUTPUT_PP;
  GPIO_InitStruct.Pull = GPIO_NOPULL;
  GPIO_InitStruct.Speed = GPIO_SPEED_FREQ_LOW;
  HAL_GPIO_Init(GPIOE, &GPIO_InitStruct);

  /*Configure GPIO pins : USB_OTG_FS_OVRCR_EXTI3_Pin SPSGRF_915_GPIO3_EXTI5_Pin SPBTLE_RF_IRQ_EXTI6_Pin ISM43362_DRDY_EXTI1_Pin */
  GPIO_InitStruct.Pin = USB_OTG_FS_OVRCR_EXTI3_Pin|SPSGRF_915_GPIO3_EXTI5_Pin|SPBTLE_RF_IRQ_EXTI6_Pin|ISM43362_DRDY_EXTI1_Pin;
  GPIO_InitStruct.Mode = GPIO_MODE_IT_RISING;
  GPIO_InitStruct.Pull = GPIO_NOPULL;
  HAL_GPIO_Init(GPIOE, &GPIO_InitStruct);

  /*Configure GPIO pin : BUTTON_EXTI13_Pin */
  GPIO_InitStruct.Pin = BUTTON_EXTI13_Pin;
  GPIO_InitStruct.Mode = GPIO_MODE_IT_FALLING;
  GPIO_InitStruct.Pull = GPIO_NOPULL;
  HAL_GPIO_Init(BUTTON_EXTI13_GPIO_Port, &GPIO_InitStruct);

  /*Configure GPIO pins : ARD_A5_Pin ARD_A4_Pin ARD_A3_Pin ARD_A2_Pin
                           ARD_A1_Pin ARD_A0_Pin */
  GPIO_InitStruct.Pin = ARD_A5_Pin|ARD_A4_Pin|ARD_A3_Pin|ARD_A2_Pin
                          |ARD_A1_Pin|ARD_A0_Pin;
  GPIO_InitStruct.Mode = GPIO_MODE_ANALOG_ADC_CONTROL;
  GPIO_InitStruct.Pull = GPIO_NOPULL;
  HAL_GPIO_Init(GPIOC, &GPIO_InitStruct);

  /*Configure GPIO pins : ARD_D1_Pin ARD_D0_Pin */
  GPIO_InitStruct.Pin = ARD_D1_Pin|ARD_D0_Pin;
  GPIO_InitStruct.Mode = GPIO_MODE_AF_PP;
  GPIO_InitStruct.Pull = GPIO_NOPULL;
  GPIO_InitStruct.Speed = GPIO_SPEED_FREQ_VERY_HIGH;
  GPIO_InitStruct.Alternate = GPIO_AF8_UART4;
  HAL_GPIO_Init(GPIOA, &GPIO_InitStruct);

  /*Configure GPIO pins : ARD_D10_Pin SPBTLE_RF_RST_Pin ARD_D9_Pin */
  GPIO_InitStruct.Pin = ARD_D10_Pin|SPBTLE_RF_RST_Pin|ARD_D9_Pin;
  GPIO_InitStruct.Mode = GPIO_MODE_OUTPUT_PP;
  GPIO_InitStruct.Pull = GPIO_NOPULL;
  GPIO_InitStruct.Speed = GPIO_SPEED_FREQ_LOW;
  HAL_GPIO_Init(GPIOA, &GPIO_InitStruct);

  /*Configure GPIO pin : ARD_D4_Pin */
  GPIO_InitStruct.Pin = ARD_D4_Pin;
  GPIO_InitStruct.Mode = GPIO_MODE_AF_PP;
  GPIO_InitStruct.Pull = GPIO_NOPULL;
  GPIO_InitStruct.Speed = GPIO_SPEED_FREQ_LOW;
  GPIO_InitStruct.Alternate = GPIO_AF1_TIM2;
  HAL_GPIO_Init(ARD_D4_GPIO_Port, &GPIO_InitStruct);

  /*Configure GPIO pin : ARD_D7_Pin */
  GPIO_InitStruct.Pin = ARD_D7_Pin;
  GPIO_InitStruct.Mode = GPIO_MODE_ANALOG_ADC_CONTROL;
  GPIO_InitStruct.Pull = GPIO_NOPULL;
  HAL_GPIO_Init(ARD_D7_GPIO_Port, &GPIO_InitStruct);

  /*Configure GPIO pins : ARD_D13_Pin ARD_D12_Pin ARD_D11_Pin */
  GPIO_InitStruct.Pin = ARD_D13_Pin|ARD_D12_Pin|ARD_D11_Pin;
  GPIO_InitStruct.Mode = GPIO_MODE_AF_PP;
  GPIO_InitStruct.Pull = GPIO_NOPULL;
  GPIO_InitStruct.Speed = GPIO_SPEED_FREQ_VERY_HIGH;
  GPIO_InitStruct.Alternate = GPIO_AF5_SPI1;
  HAL_GPIO_Init(GPIOA, &GPIO_InitStruct);

  /*Configure GPIO pin : ARD_D3_Pin */
  GPIO_InitStruct.Pin = ARD_D3_Pin;
  GPIO_InitStruct.Mode = GPIO_MODE_IT_RISING;
  GPIO_InitStruct.Pull = GPIO_NOPULL;
  HAL_GPIO_Init(ARD_D3_GPIO_Port, &GPIO_InitStruct);

  /*Configure GPIO pin : ARD_D6_Pin */
  GPIO_InitStruct.Pin = ARD_D6_Pin;
  GPIO_InitStruct.Mode = GPIO_MODE_ANALOG_ADC_CONTROL;
  GPIO_InitStruct.Pull = GPIO_NOPULL;
  HAL_GPIO_Init(ARD_D6_GPIO_Port, &GPIO_InitStruct);

  /*Configure GPIO pins : ARD_D8_Pin ISM43362_BOOT0_Pin ISM43362_WAKEUP_Pin LED2_Pin
                           SPSGRF_915_SDN_Pin ARD_D5_Pin SPSGRF_915_SPI3_CSN_Pin */
  GPIO_InitStruct.Pin = ARD_D8_Pin|ISM43362_BOOT0_Pin|ISM43362_WAKEUP_Pin|LED2_Pin
                          |SPSGRF_915_SDN_Pin|ARD_D5_Pin|SPSGRF_915_SPI3_CSN_Pin;
  GPIO_InitStruct.Mode = GPIO_MODE_OUTPUT_PP;
  GPIO_InitStruct.Pull = GPIO_NOPULL;
  GPIO_InitStruct.Speed = GPIO_SPEED_FREQ_LOW;
  HAL_GPIO_Init(GPIOB, &GPIO_InitStruct);

  /*Configure GPIO pins : LPS22HB_INT_DRDY_EXTI0_Pin LSM6DSL_INT1_EXTI11_Pin ARD_D2_Pin HTS221_DRDY_EXTI15_Pin
                           PMOD_IRQ_EXTI12_Pin */
  GPIO_InitStruct.Pin = LPS22HB_INT_DRDY_EXTI0_Pin|LSM6DSL_INT1_EXTI11_Pin|ARD_D2_Pin|HTS221_DRDY_EXTI15_Pin
                          |PMOD_IRQ_EXTI12_Pin;
  GPIO_InitStruct.Mode = GPIO_MODE_IT_RISING;
  GPIO_InitStruct.Pull = GPIO_NOPULL;
  HAL_GPIO_Init(GPIOD, &GPIO_InitStruct);

  /*Configure GPIO pins : USB_OTG_FS_PWR_EN_Pin SPBTLE_RF_SPI3_CSN_Pin PMOD_RESET_Pin STSAFE_A100_RESET_Pin */
  GPIO_InitStruct.Pin = USB_OTG_FS_PWR_EN_Pin|SPBTLE_RF_SPI3_CSN_Pin|PMOD_RESET_Pin|STSAFE_A100_RESET_Pin;
  GPIO_InitStruct.Mode = GPIO_MODE_OUTPUT_PP;
  GPIO_InitStruct.Pull = GPIO_NOPULL;
  GPIO_InitStruct.Speed = GPIO_SPEED_FREQ_LOW;
  HAL_GPIO_Init(GPIOD, &GPIO_InitStruct);

  /*Configure GPIO pins : VL53L0X_XSHUT_Pin LED3_WIFI__LED4_BLE_Pin */
  GPIO_InitStruct.Pin = VL53L0X_XSHUT_Pin|LED3_WIFI__LED4_BLE_Pin;
  GPIO_InitStruct.Mode = GPIO_MODE_OUTPUT_PP;
  GPIO_InitStruct.Pull = GPIO_NOPULL;
  GPIO_InitStruct.Speed = GPIO_SPEED_FREQ_LOW;
  HAL_GPIO_Init(GPIOC, &GPIO_InitStruct);

  /*Configure GPIO pins : VL53L0X_GPIO1_EXTI7_Pin LSM3MDL_DRDY_EXTI8_Pin */
  GPIO_InitStruct.Pin = VL53L0X_GPIO1_EXTI7_Pin|LSM3MDL_DRDY_EXTI8_Pin;
  GPIO_InitStruct.Mode = GPIO_MODE_IT_RISING;
  GPIO_InitStruct.Pull = GPIO_NOPULL;
  HAL_GPIO_Init(GPIOC, &GPIO_InitStruct);

  /*Configure GPIO pin : PMOD_SPI2_SCK_Pin */
  GPIO_InitStruct.Pin = PMOD_SPI2_SCK_Pin;
  GPIO_InitStruct.Mode = GPIO_MODE_AF_PP;
  GPIO_InitStruct.Pull = GPIO_NOPULL;
  GPIO_InitStruct.Speed = GPIO_SPEED_FREQ_VERY_HIGH;
  GPIO_InitStruct.Alternate = GPIO_AF5_SPI2;
  HAL_GPIO_Init(PMOD_SPI2_SCK_GPIO_Port, &GPIO_InitStruct);

  /*Configure GPIO pins : PMOD_UART2_CTS_Pin PMOD_UART2_RTS_Pin PMOD_UART2_TX_Pin PMOD_UART2_RX_Pin */
  GPIO_InitStruct.Pin = PMOD_UART2_CTS_Pin|PMOD_UART2_RTS_Pin|PMOD_UART2_TX_Pin|PMOD_UART2_RX_Pin;
  GPIO_InitStruct.Mode = GPIO_MODE_AF_PP;
  GPIO_InitStruct.Pull = GPIO_NOPULL;
  GPIO_InitStruct.Speed = GPIO_SPEED_FREQ_VERY_HIGH;
  GPIO_InitStruct.Alternate = GPIO_AF7_USART2;
  HAL_GPIO_Init(GPIOD, &GPIO_InitStruct);

  /*Configure GPIO pins : ARD_D15_Pin ARD_D14_Pin */
  GPIO_InitStruct.Pin = ARD_D15_Pin|ARD_D14_Pin;
  GPIO_InitStruct.Mode = GPIO_MODE_AF_OD;
  GPIO_InitStruct.Pull = GPIO_NOPULL;
  GPIO_InitStruct.Speed = GPIO_SPEED_FREQ_VERY_HIGH;
  GPIO_InitStruct.Alternate = GPIO_AF4_I2C1;
  HAL_GPIO_Init(GPIOB, &GPIO_InitStruct);

  /* EXTI interrupt init*/
  HAL_NVIC_SetPriority(EXTI9_5_IRQn, 0, 0);
  HAL_NVIC_EnableIRQ(EXTI9_5_IRQn);

  HAL_NVIC_SetPriority(EXTI15_10_IRQn, 0, 0);
  HAL_NVIC_EnableIRQ(EXTI15_10_IRQn);

}

/* USER CODE BEGIN 4 */
extern SPI_HandleTypeDef hspi;   /* defined in Drivers/WiFi/es_wifi_io.c */

static void uart_print(const char *s)
{
  HAL_UART_Transmit(&huart1, (uint8_t *)s, (uint16_t)strlen(s), HAL_MAX_DELAY);
}

/* ISM43362 "data ready" line = PE1 = EXTI line 1 */
void EXTI1_IRQHandler(void)
{
  HAL_GPIO_EXTI_IRQHandler(GPIO_PIN_1);
}

void HAL_GPIO_EXTI_Callback(uint16_t GPIO_Pin)
{
  if (GPIO_Pin == GPIO_PIN_1)
  {
    SPI_WIFI_ISR();
  }
}

void SPI3_IRQHandler(void)
{
  HAL_SPI_IRQHandler(&hspi);   /* the driver's handle, not hspi3 */
}
/* USER CODE END 4 */

void Error_Handler(void)
{
  __disable_irq();
  while (1)
  {
  }
}
